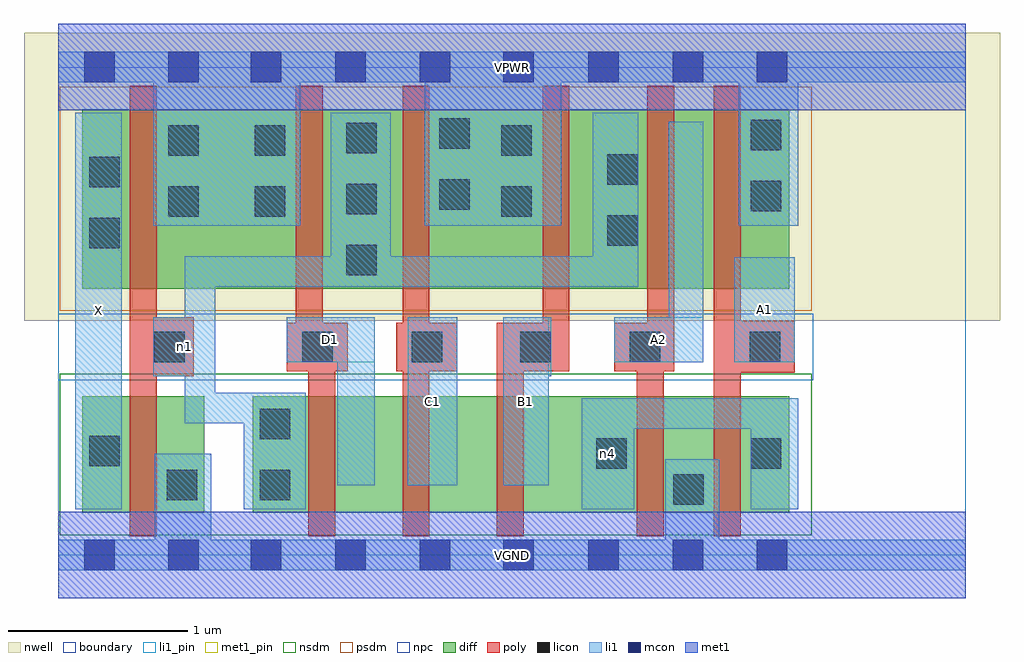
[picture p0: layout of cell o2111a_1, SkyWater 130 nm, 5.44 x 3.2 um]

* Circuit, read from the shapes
.subckt o2111a_1 A1 A2 B1 C1 D1 VGND VPWR X n1 n4
XM1 VGND n1 X VSUBS sky130_fd_pr__nfet_01v8 w=0.65 l=0.15
XM2 n2 D1 n1 VSUBS sky130_fd_pr__nfet_01v8 w=0.65 l=0.15
XM3 n3 C1 n2 VSUBS sky130_fd_pr__nfet_01v8 w=0.65 l=0.15
XM4 n4 B1 n3 VSUBS sky130_fd_pr__nfet_01v8 w=0.65 l=0.15
XM5 VGND A2 n4 VSUBS sky130_fd_pr__nfet_01v8 w=0.65 l=0.15
XM6 n4 A1 VGND VSUBS sky130_fd_pr__nfet_01v8 w=0.65 l=0.15
XM7 VPWR n1 X n5 sky130_fd_pr__pfet_01v8 w=1 l=0.15
XM8 n1 D1 VPWR n5 sky130_fd_pr__pfet_01v8 w=1 l=0.15
XM9 VPWR C1 n1 n5 sky130_fd_pr__pfet_01v8 w=1 l=0.15
XM10 n1 B1 VPWR n5 sky130_fd_pr__pfet_01v8 w=1 l=0.15
XM11 n6 A2 n1 n5 sky130_fd_pr__pfet_01v8 w=1 l=0.15
XM12 VPWR A1 n6 n5 sky130_fd_pr__pfet_01v8 w=1 l=0.15
.ends

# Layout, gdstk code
import gdstk
lib = gdstk.Library(unit=1e-6, precision=1e-09)
def R(c, l, rs):  # rectangles x0, y0, x1, y1
    for r in rs: c.add(gdstk.rectangle(r[:2], r[2:], *l))
def A(c, l, x, y, w, h, nx, ny, dx, dy):  # array of equal rectangles
    R(c, l, [(x+i*dx, y+j*dy, x+i*dx+w, y+j*dy+h) for i in range(nx) for j in range(ny)])
nwell = (64, 20)
diff = (65, 20)
poly = (66, 20)
licon = (66, 44)
li1_pin = (67, 16)
li1 = (67, 20)
mcon = (67, 44)
met1_pin = (68, 16)
met1 = (68, 20)
nsdm = (93, 44)
psdm = (94, 20)
npc = (95, 20)
boundary = (235, 4)

o2111a_1 = lib.new_cell('o2111a_1')
R(o2111a_1, nwell, [(-0.19,1.305,5.25,2.91), (0,1.305,5.06,2.91)])
R(o2111a_1, diff, [(0.135,0.235,0.815,0.885), (1.085,0.235,4.075,0.885), (0.135,1.485,4.075,2.485)])
R(o2111a_1, poly, [(0.4,0.105,0.55,2.615), (1.395,0.105,1.545,1.295), (1.92,0.105,2.07,2.615), (2.445,0.105,2.595,1.295), (3.225,0.105,3.375,1.295), (3.655,0.105,3.805,2.615), (0.4,0.995,0.755,1.325), (3.655,1.015,4.105,1.305), (1.275,1.025,1.615,1.295), (1.325,1.025,1.475,2.615), (1.885,1.025,2.225,1.295), (2.445,1.025,2.85,1.295), (2.7,1.025,2.85,2.615), (3.1,1.025,3.435,1.295), (3.285,1.025,3.435,2.615)])
A(o2111a_1, licon, 1.605, 1.56, 0.17, 0.17, 1, 3, 0, 0.34)
R(o2111a_1, licon, [(3.43,0.28,3.6,0.45), (0.605,0.305,0.775,0.475), (1.125,0.305,1.295,0.475), (3,0.48,3.17,0.65), (3.86,0.48,4.03,0.65), (0.175,0.495,0.345,0.665), (1.125,0.645,1.295,0.815), (0.535,1.075,0.705,1.245), (1.36,1.075,1.53,1.245), (1.97,1.075,2.14,1.245), (2.575,1.075,2.745,1.245), (3.185,1.075,3.355,1.245), (3.855,1.075,4.025,1.245), (0.175,1.71,0.345,1.88), (3.06,1.725,3.23,1.895), (0.615,1.885,0.785,2.055), (1.095,1.885,1.265,2.055), (2.47,1.885,2.64,2.055), (3.86,1.915,4.03,2.085), (2.125,1.925,2.295,2.095), (0.175,2.05,0.345,2.22), (3.06,2.065,3.23,2.235), (0.615,2.225,0.785,2.395), (1.095,2.225,1.265,2.395), (2.47,2.225,2.64,2.395), (3.86,2.255,4.03,2.425), (2.125,2.265,2.295,2.435)])
R(o2111a_1, li1_pin, [(0.095,0.255,0.355,2.465), (1.95,0.39,2.225,1.325), (2.48,0.39,2.735,1.325), (1.275,1.075,1.765,1.325), (3.1,1.075,3.595,1.325), (3.77,1.075,4.105,1.66)])
R(o2111a_1, li1, [(0,-0.085,5.06,0.085), (0.54,-0.085,0.855,0.565), (3.385,-0.085,3.685,0.535), (0.095,0.255,0.355,2.465), (1.035,0.255,1.38,0.905), (2.92,0.255,3.21,0.875), (3.86,0.255,4.125,0.875), (1.555,0.39,1.765,1.325), (1.95,0.39,2.225,1.325), (2.48,0.39,2.735,1.325), (2.92,0.705,4.125,0.875), (0.705,0.735,0.875,1.665), (0.705,0.735,1.38,0.905), (0.53,0.995,0.875,1.325), (2.48,0.995,2.75,1.325), (1.275,1.075,1.765,1.325), (3.1,1.075,3.595,1.325), (3.405,1.075,3.595,2.415), (3.77,1.075,4.105,1.66), (0.705,1.495,3.235,1.665), (1.52,1.495,1.855,2.465), (2.98,1.495,3.235,2.465), (0.53,1.835,1.35,2.805), (2.045,1.835,2.805,2.805), (3.795,1.835,4.125,2.805), (0,2.635,5.06,2.805)])
A(o2111a_1, mcon, 1.075, -0.085, 0.17, 0.17, 3, 2, 0.47, 2.72)
A(o2111a_1, mcon, 2.955, -0.085, 0.17, 0.17, 3, 2, 0.47, 2.72)
R(o2111a_1, mcon, [(0.145,-0.085,0.315,0.085), (0.615,-0.085,0.785,0.085), (2.48,-0.085,2.65,0.085), (0.145,2.635,0.315,2.805), (0.615,2.635,0.785,2.805), (2.48,2.635,2.65,2.805)])
R(o2111a_1, met1_pin, [(0,-0.24,5.06,0.24), (0,2.48,5.06,2.96)])
R(o2111a_1, met1, [(0,-0.24,5.06,0.24), (0,2.48,5.06,2.96)])
R(o2111a_1, nsdm, [(0.01,0.11,4.2,1.01)])
R(o2111a_1, psdm, [(0.01,1.36,4.2,2.61)])
R(o2111a_1, npc, [(0,0.975,4.21,1.345)])
R(o2111a_1, boundary, [(0,0,5.06,2.72)])
o2111a_1.add(gdstk.Label('A1', (3.937,1.367), layer=67, texttype=5))
o2111a_1.add(gdstk.Label('A2', (3.347,1.2), layer=67, texttype=5))
o2111a_1.add(gdstk.Label('B1', (2.607,0.857), layer=67, texttype=5))
o2111a_1.add(gdstk.Label('C1', (2.087,0.857), layer=67, texttype=5))
o2111a_1.add(gdstk.Label('D1', (1.52,1.2), layer=67, texttype=5))
o2111a_1.add(gdstk.Label('X', (0.225,1.36), layer=67, texttype=5))
o2111a_1.add(gdstk.Label('n4', (3.065,0.565), layer=67, texttype=5))
o2111a_1.add(gdstk.Label('n1', (0.702,1.16), layer=67, texttype=5))
o2111a_1.add(gdstk.Label('VPWR', (2.53,2.72), layer=68, texttype=5))
o2111a_1.add(gdstk.Label('VGND', (2.53,0), layer=68, texttype=5))
o2111a_1.add(gdstk.Label('A1', (3.937,1.367), layer=67, texttype=16))
o2111a_1.add(gdstk.Label('A2', (3.347,1.2), layer=67, texttype=16))
o2111a_1.add(gdstk.Label('B1', (2.607,0.857), layer=67, texttype=16))
o2111a_1.add(gdstk.Label('C1', (2.087,0.857), layer=67, texttype=16))
o2111a_1.add(gdstk.Label('D1', (1.52,1.2), layer=67, texttype=16))
o2111a_1.add(gdstk.Label('X', (0.225,1.36), layer=67, texttype=16))
o2111a_1.add(gdstk.Label('VPWR', (2.53,2.72), layer=68, texttype=16))
o2111a_1.add(gdstk.Label('VGND', (2.53,0), layer=68, texttype=16))

lib.write_gds('o2111a_1.gds')
